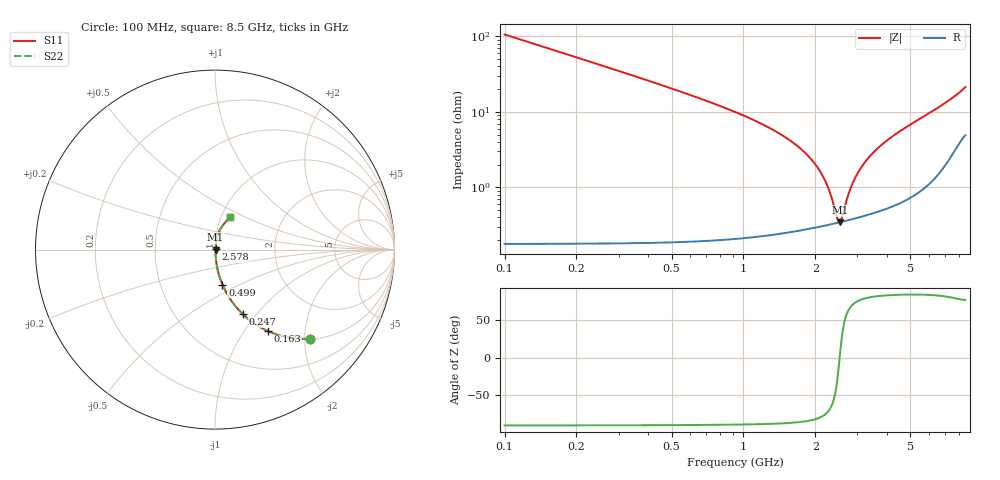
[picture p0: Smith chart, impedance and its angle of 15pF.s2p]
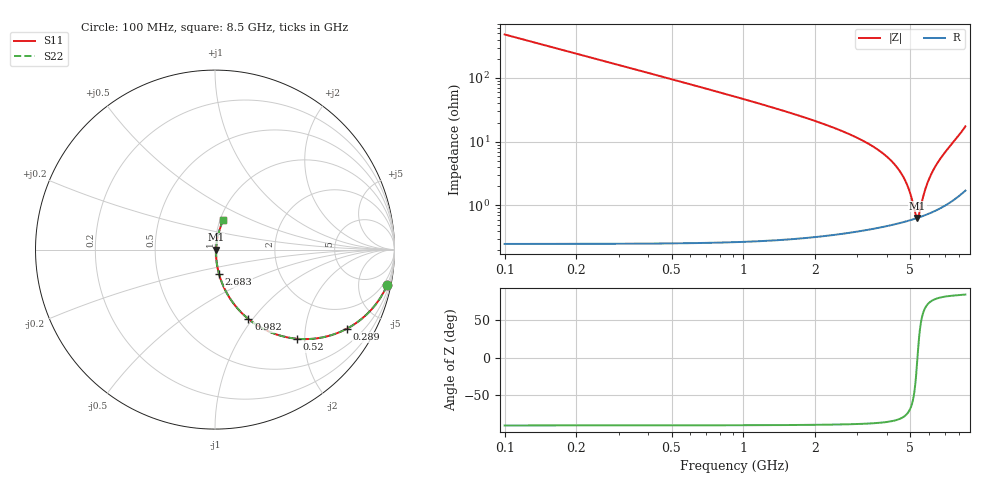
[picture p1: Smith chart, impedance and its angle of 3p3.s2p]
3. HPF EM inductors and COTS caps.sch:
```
<Qucs Schematic 24.2.1>
<Properties>
  <View=-56,94,1560,988,0.963087,0,0>
  <Grid=10,10,1>
  <DataSet=3. HPF EM inductors and COTS caps.dat>
  <DataDisplay=3. HPF EM inductors and COTS caps.dpl>
  <OpenDisplay=0>
  <Script=1. Ideal Lumped Components.m>
  <RunScript=0>
  <showFrame=3>
  <FrameText0=Lumped HPF 2 GHz>
  <FrameText1=Drawn By: Andrés Martínez Mera>
  <FrameText2=Date: 01/04/2024>
  <FrameText3=Revision:>
</Properties>
<Symbol>
</Symbol>
<Components>
  <SUBST RO4003C 1 330 790 -30 24 0 0 "3.55" 1 "508um" 1 "32um" 1 "0.027" 1 "1e-10" 1 "0" 1>
  <.SP SP1 1 130 650 0 70 0 0 "lin" 1 "100MHz" 1 "4GHz" 1 "201" 1 "no" 0 "1" 0 "2" 0 "no" 0 "no" 0>
  <Eqn Eqn1 1 350 660 -28 15 0 0 "dBS21=dB(S[2,1])" 1 "dBS11=dB(S[1,1])" 1 "yes" 0>
  <Eqn Resonator1 1 510 770 -31 16 0 0 "L_L1=5.7m" 1 "L_C1=16.5m" 1 "W_C1=5.7m" 1 "yes" 0>
  <Eqn Resonator2 1 650 770 -31 16 0 0 "L_L2=9.6m" 1 "L_C2=7.400m" 1 "W_C2=3.7m" 1 "yes" 0>
  <GND * 1 440 230 0 0 0 0>
  <Pac P2 1 840 320 18 -26 0 1 "2" 1 "50 Ohm" 1 "0 dBm" 0 "1 GHz" 0 "26.85" 0 "true" 0>
  <GND * 1 840 350 0 0 0 0>
  <Pac P1 1 60 310 18 -26 0 1 "1" 1 "50 Ohm" 1 "0 dBm" 0 "1 GHz" 0 "26.85" 0 "true" 0>
  <GND * 1 60 340 0 0 0 0>
  <Sub L3n5 1 320 410 64 -120 0 1 "L1.sch" 0>
  <Sub L5n5 1 600 430 64 -120 0 1 "L2.sch" 0>
  <GND * 1 120 230 0 0 0 0>
  <GND * 1 200 230 0 0 0 0>
  <GND * 1 690 230 0 0 0 0>
  <GND * 1 770 230 0 0 0 0>
  <GND * 1 300 490 0 0 0 0>
  <GND * 1 270 460 0 0 0 0>
  <GND * 1 550 560 0 0 0 3>
  <GND * 1 550 480 0 0 0 3>
  <GND * 1 580 590 0 0 0 0>
  <SPfile X6 5 770 200 -26 -19 0 0 "./Capacitors/15pF.s2p" 0 "rectangular" 0 "linear" 0 "open" 0 "2" 0>
  <SPfile X5 5 690 200 -26 -19 0 0 "./Capacitors/3p3.s2p" 0 "rectangular" 0 "linear" 0 "open" 0 "2" 0>
  <SPfile X1 5 120 200 -26 -19 0 0 "./Capacitors/2p2.s2p" 0 "rectangular" 0 "linear" 0 "open" 0 "2" 0>
  <SPfile X4 5 200 200 -26 -19 0 0 "./Capacitors/10pF.s2p" 0 "rectangular" 0 "linear" 0 "open" 0 "2" 0>
  <SPfile X2 5 440 200 -26 -19 0 0 "./Capacitors/1pF.s2p" 0 "rectangular" 0 "linear" 0 "open" 0 "2" 0>
  <SPfile X7 5 300 460 20 -26 0 3 "./Capacitors/8pF.s2p" 0 "rectangular" 0 "linear" 0 "open" 0 "2" 0>
  <SPfile X8 5 580 480 20 -26 0 3 "./Capacitors/3p3.s2p" 0 "rectangular" 0 "linear" 0 "open" 0 "2" 0>
  <SPfile X9 5 580 560 20 -26 0 3 "./Capacitors/15pF.s2p" 0 "rectangular" 0 "linear" 0 "open" 0 "2" 0>
</Components>
<Wires>
  <580 200 580 240 "" 0 0 0 "">
  <300 200 300 220 "" 0 0 0 "">
  <840 200 840 290 "" 0 0 0 "">
  <230 200 300 200 "" 0 0 0 "">
  <800 200 840 200 "" 0 0 0 "">
  <720 200 740 200 "" 0 0 0 "">
  <580 200 660 200 "" 0 0 0 "">
  <150 200 170 200 "" 0 0 0 "">
  <60 200 60 280 "" 0 0 0 "">
  <60 200 90 200 "" 0 0 0 "">
  <470 200 580 200 "" 0 0 0 "">
  <300 200 410 200 "" 0 0 0 "">
  <580 510 580 530 "" 0 0 0 "">
</Wires>
<Diagrams>
  <Rect 950 480 507 346 3 #c0c0c0 1 00 1 0 5e+08 4e+09 0 -50 5 0 1 -1 0.5 1 315 0 225 1 0 0 "" "" "">
	<"dBS11" #0000ff 0 3 0 0 0>
	<"dBS21" #ff0000 0 3 0 0 0>
	  <Mkr 1.9915e+09 292 -322 3 0 0>
  </Rect>
</Diagrams>
<Paintings>
  <Text 330 450 12 #000000 0 "8 pF">
  <Text 620 470 12 #000000 0 "3.3 pF">
  <Text 620 550 12 #000000 0 "15 pF">
  <Text 100 160 12 #000000 0 "2.2 pF">
  <Text 180 160 12 #000000 0 "10 pF">
  <Text 421 163 12 #000000 0 "1 pF">
  <Text 670 160 12 #000000 0 "3.3 pF">
  <Text 750 160 12 #000000 0 "15 pF">
</Paintings>
```
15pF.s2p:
!Murata Part Number: GRM0335C1E150JA01
!These Parameters are Measured in Series Mode Connection
!  o--ll--o
!Port1  Port2
!  o------o
!Operation Temp=25[degC], DC Bias Voltage=0[V]
!Freq. Start=100[MHz] Stop=8.5[GHz], 401[Steps]
!Data Generated on Jan 10, 2018
# Hz S RI R 50
!Freq.(Hz) S11(Real) S11(Imag) S21(Real) S21(Imag) S12(Real) S12(Imag) S22(Real) S22(Imag)
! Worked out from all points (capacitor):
!   401 points, 100 MHz to 8.5 GHz, reference 50 ohm
!   read as one part in series: C = 15 pF near 142 MHz
!   lowest |Z| = 347 mohm at 2.536 GHz (marker M1)
!   series resonance near 2.529 GHz, so ESL is about 260 pH
!   S11 on the Smith chart (normalised r, x): 100 MHz: 1.00, -2.12; 163 MHz: 1.00, -1.30; 247 MHz: 1.00, -0.85; 499 MHz: 1.00, -0.41; 2.578 GHz: 1.01, +0.00; 8.5 GHz: 1.10, +0.42
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1e8  0.5288 -0.4983  0.4712 0.4983  0.4712 0.4983  0.5288 -0.4983
1.63e8  0.2964 -0.4553  0.7036 0.4553  0.7036 0.4553  0.2964 -0.4553
2.47e8  0.1543 -0.3592  0.8457 0.3592  0.8457 0.3592  0.1543 -0.3592
4.99e8  0.0417 -0.1955  0.9583 0.1955  0.9583 0.1955  0.0417 -0.1955
1.948e9  0.00337 -0.0221  0.9966 0.0221  0.9966 0.0221  0.00337 -0.0221
2.536e9  0.00345 0.000244  0.9966 -0.000244  0.9966 -0.000244  0.00345 0.000244
2.578e9  0.00349 0.00163  0.9965 -0.00163  0.9965 -0.00163  0.00349 0.00163
2.83e9  0.00384 0.00955  0.9962 -0.00955  0.9962 -0.00955  0.00384 0.00955
3.145e9  0.00445 0.0187  0.9955 -0.0187  0.9955 -0.0187  0.00445 0.0187
4.3e9  0.00812 0.0487  0.9919 -0.0487  0.9919 -0.0487  0.00812 0.0487
8.5e9  0.0827 0.182  0.9173 -0.182  0.9173 -0.182  0.0827 0.182
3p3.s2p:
!Murata Part Number: GRM0335C1E3R3CA01
!These Parameters are Measured in Series Mode Connection
!  o--ll--o
!Port1  Port2
!  o------o
!Operation Temp=25[degC], DC Bias Voltage=0[V]
!Freq. Start=100[MHz] Stop=8.5[GHz], 401[Steps]
!Data Generated on Jan 10, 2018
# Hz S RI R 50
!Freq.(Hz) S11(Real) S11(Imag) S21(Real) S21(Imag) S12(Real) S12(Imag) S22(Real) S22(Imag)
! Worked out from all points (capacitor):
!   401 points, 100 MHz to 8.5 GHz, reference 50 ohm
!   read as one part in series: C = 3.3 pF near 142 MHz
!   lowest |Z| = 635 mohm at 5.35 GHz (marker M1)
!   series resonance near 5.354 GHz, so ESL is about 270 pH
!   S11 on the Smith chart (normalised r, x): 100 MHz: 1.00, -9.64; 289 MHz: 1.00, -3.33; 520 MHz: 1.01, -1.84; 982 MHz: 1.01, -0.95; 2.683 GHz: 1.01, -0.28; 8.5 GHz: 1.03, +0.35
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1e8  0.9587 -0.1988  0.0413 0.1988  0.0413 0.1988  0.9587 -0.1988
2.89e8  0.7345 -0.4409  0.2655 0.4409  0.2655 0.4409  0.7345 -0.4409
5.2e8  0.4583 -0.4969  0.5417 0.4969  0.5417 0.4969  0.4583 -0.4969
9.82e8  0.1863 -0.3866  0.8137 0.3866  0.8137 0.3866  0.1863 -0.3866
2.683e9  0.0223 -0.1352  0.9777 0.1352  0.9777 0.1352  0.0223 -0.1352
4.3e9  0.00689 -0.043  0.9931 0.043  0.9931 0.043  0.00689 -0.043
4.825e9  0.00605 -0.0209  0.994 0.0209  0.994 0.0209  0.00605 -0.0209
5.35e9  0.00631 -0.000148  0.9937 0.000148  0.9937 0.000148  0.00631 -0.000148
5.833e9  0.00744 0.0185  0.9926 -0.0185  0.9926 -0.0185  0.00744 0.0185
6.316e9  0.00948 0.0375  0.9905 -0.0375  0.9905 -0.0375  0.00948 0.0375
8.5e9  0.0445 0.1628  0.9555 -0.1628  0.9555 -0.1628  0.0445 0.1628
